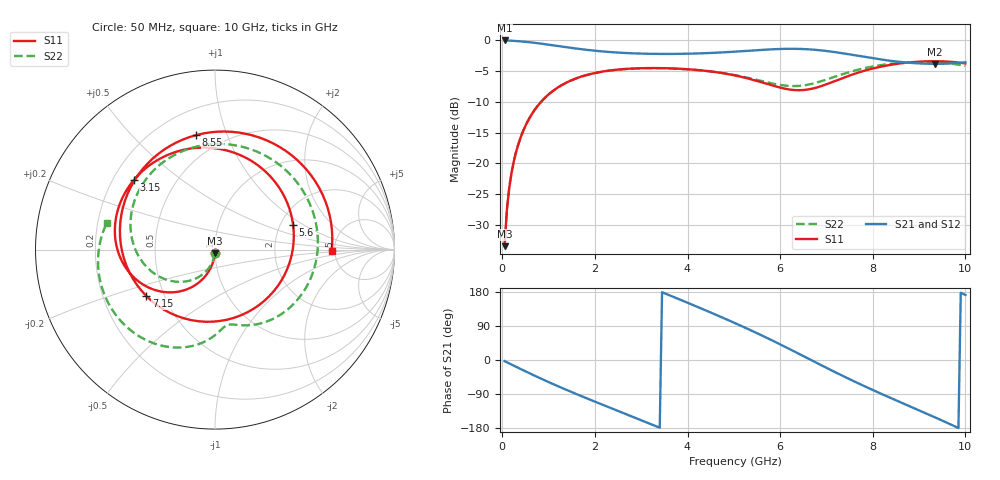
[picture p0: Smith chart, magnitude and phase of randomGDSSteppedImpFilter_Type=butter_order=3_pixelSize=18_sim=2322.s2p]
! freq	dB(S11)	phase(S11)	dB(S12)	phase(S12)
!  dB(S21)	phase(S21)	dB(S22)	phase(S22)
!S-par simulation data
#  GHz  S  DB  R 50
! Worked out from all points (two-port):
!   200 points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, 50 MHz to 10 GHz, reference 50 ohm
!   highest |S21| = 0.00 dB at 50 MHz (marker M1); lowest = -3.8 dB at 9.35 GHz (marker M2)
!   |S21| within 3 dB of the highest: start of sweep to 8.088 GHz
!   lowest |S11| = -33.5 dB at 50 MHz (marker M3), VSWR 1.04, Z = 49.9 - j2.11 ohm
!   |S11| at or under -10 dB: start of sweep to 837.4 MHz
!   |S22| runs from -33.5 to -3.5 dB; largest |S21 - S12| = 0
!   S11 on the Smith chart (normalised r, x): 50 MHz: 1.00, -0.04; 3.15 GHz: 0.29, +0.34; 5.6 GHz: 2.35, +0.80; 7.15 GHz: 0.40, -0.26; 8.55 GHz: 0.36, +0.78; 10 GHz: 4.70, -0.13
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0.05  -33.50 -92.7  -0.00 -3.1  -0.00 -3.1  -33.50 -93.6
0.1  -27.49 -95.3  -0.02 -6.1  -0.02 -6.1  -27.50 -97.2
0.2  -21.53 -100.6  -0.05 -12.1  -0.05 -12.1  -21.54 -104.3
0.5  -13.90 -115.8  -0.22 -29.9  -0.22 -29.9  -13.92 -125.1
1.1  -8.18 -143.7  -0.80 -63.7  -0.80 -63.7  -8.20 -164.8
1.75  -5.78 -170.4  -1.47 -97.5  -1.47 -97.5  -5.80 154.3
2.5  -4.74 162.2  -1.98 -134.4  -1.98 -134.4  -4.76 107.9
3.15  -4.50 139.5  -2.17 -166.3  -2.17 -166.3  -4.53 67.3
3.4  -4.50 130.6  -2.20 -178.7  -2.20 -178.7  -4.53 51.6
4.15  -4.77 101.5  -2.14 143.5  -2.14 143.5  -4.79 5.8
5.05  -5.74 56.0  -1.81 96.0  -1.81 96.0  -5.69 -42.1
5.6  -6.82 17.3  -1.54 65.0  -1.54 65.0  -6.61 -64.0
6.1  -7.85 -29.4  -1.37 35.2  -1.37 35.2  -7.35 -76.5
6.7  -7.84 -97.4  -1.49 -2.0  -1.49 -2.0  -7.04 -85.1
7.15  -6.71 -146.0  -1.87 -29.8  -1.87 -29.8  -5.99 -94.0
7.7  -5.20 163.7  -2.53 -62.3  -2.53 -62.3  -4.73 -109.8
8.35  -4.02 113.6  -3.29 -98.2  -3.29 -98.2  -3.84 -131.7
8.55  -3.79 99.4  -3.47 -108.9  -3.47 -108.9  -3.69 -138.7
8.95  -3.48 71.6  -3.72 -130.2  -3.72 -130.2  -3.55 -152.9
9.35  -3.38 44.3  -3.81 -151.7  -3.81 -151.7  -3.59 -167.7
9.7  -3.49 20.2  -3.74 -171.0  -3.74 -171.0  -3.80 178.7
10  -3.75 -0.7  -3.56 171.7  -3.56 171.7  -4.14 166.2
